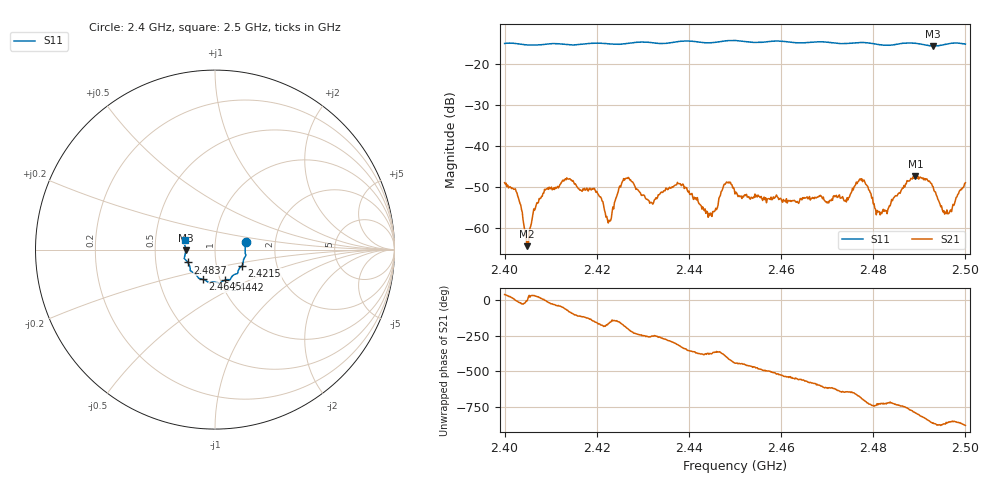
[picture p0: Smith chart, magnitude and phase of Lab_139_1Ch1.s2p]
# Hz S RI R 50
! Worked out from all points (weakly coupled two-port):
!   601 points, 2.4 GHz to 2.5 GHz, reference 50 ohm
!   highest |S21| = -47.30 dB at 2.4892 GHz (marker M1); lowest = -64.3 dB at 2.4048 GHz (marker M2)
!   lowest |S11| = -15.7 dB at 2.493 GHz (marker M3), VSWR 1.39, Z = 35.9 - j0.217 ohm
!   |S11| at or under -10 dB: start of sweep to end of sweep
!   S12 and S22 are empty: the file has one direction only
!   S11 on the Smith chart (normalised r, x): 2.4 GHz: 1.41, +0.12; 2.4215 GHz: 1.33, -0.25; 2.4442 GHz: 1.05, -0.37; 2.4645 GHz: 0.83, -0.29; 2.4837 GHz: 0.73, -0.11; 2.5 GHz: 0.71, +0.07
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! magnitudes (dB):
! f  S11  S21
! 2.4 GHz  -15.1  -48.9
! 2.4027 GHz  -15.2  -51.3
! 2.4048 GHz  -15.5  -64.3
! 2.4092 GHz  -15.3  -50.4
! 2.4167 GHz  -15.3  -50.8
! 2.4215 GHz  -15.1  -54.5
! 2.4228 GHz  -15.2  -58.2
! 2.4263 GHz  -15.2  -47.9
! 2.4333 GHz  -15.1  -51.9
! 2.4383 GHz  -14.6  -49.6
! 2.4442 GHz  -15.0  -57.3
! 2.448 GHz  -14.5  -49.1
! 2.45 GHz  -14.4  -51.7
! 2.4645 GHz  -15.0  -53.1
! 2.4667 GHz  -14.8  -52.7
! 2.4775 GHz  -14.9  -47.9
! 2.4833 GHz  -15.6  -55.0
! 2.4837 GHz  -15.5  -54.5
! 2.4892 GHz  -15.1  -47.3
! 2.493 GHz  -15.7  -49.9
! 2.496 GHz  -15.2  -55.5
! 2.5 GHz  -15.3  -48.9
